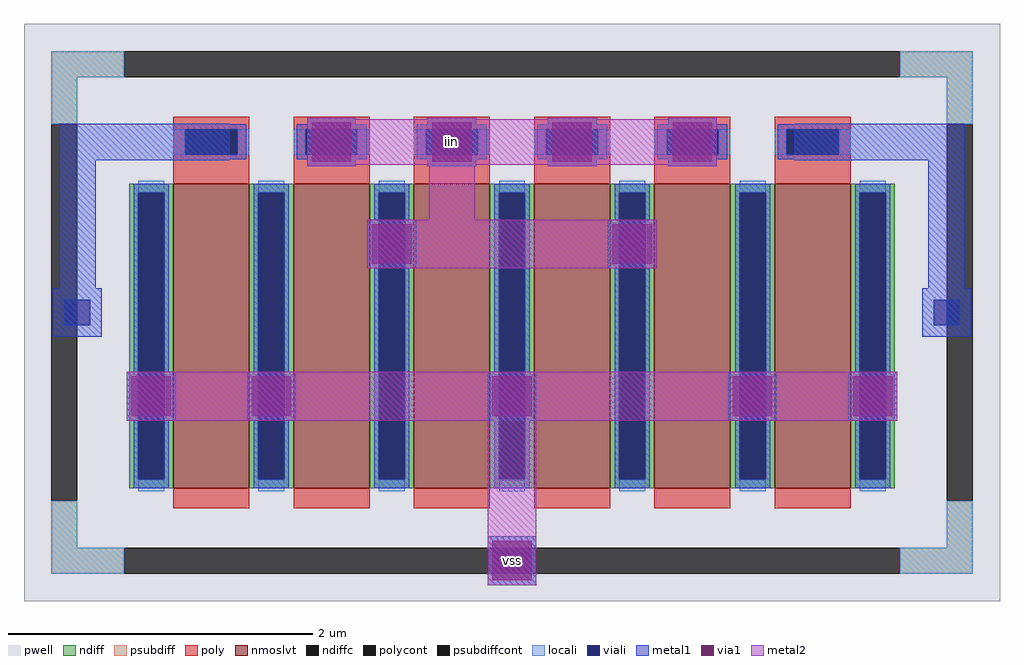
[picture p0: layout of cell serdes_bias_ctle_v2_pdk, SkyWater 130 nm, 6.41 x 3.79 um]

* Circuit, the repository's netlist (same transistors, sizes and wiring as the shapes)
* NGSPICE file created from serdes_bias_ctle_v2_pdk.ext - technology: sky130A

.subckt serdes_bias_ctle_v2_pdk iin vss
X0 vss iin iin vss sky130_fd_pr__nfet_01v8_lvt ad=0.29 pd=2.29 as=0.29 ps=2.29 w=2 l=0.5
X1 iin iin vss vss sky130_fd_pr__nfet_01v8_lvt ad=0.29 pd=2.29 as=0.29 ps=2.29 w=2 l=0.5
X2 vss iin iin vss sky130_fd_pr__nfet_01v8_lvt ad=0.29 pd=2.29 as=0.29 ps=2.29 w=2 l=0.5
X3 vss vss vss vss sky130_fd_pr__nfet_01v8_lvt ad=0.58 pd=4.58 as=2.9 ps=22.9 w=2 l=0.5
X4 iin iin vss vss sky130_fd_pr__nfet_01v8_lvt ad=0.29 pd=2.29 as=0.29 ps=2.29 w=2 l=0.5
X5 vss vss vss vss sky130_fd_pr__nfet_01v8_lvt ad=0.29 pd=2.29 as=0 ps=0 w=2 l=0.5
.ends

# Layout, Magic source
magic
tech sky130A
magscale 1 2
<< pwell >>
rect -641 -379 641 379
<< nmoslvt >>
rect -445 -231 -345 169
rect -287 -231 -187 169
rect -129 -231 -29 169
rect 29 -231 129 169
rect 187 -231 287 169
rect 345 -231 445 169
<< ndiff >>
rect -503 157 -445 169
rect -503 -219 -491 157
rect -457 -219 -445 157
rect -503 -231 -445 -219
rect -345 157 -287 169
rect -345 -219 -333 157
rect -299 -219 -287 157
rect -345 -231 -287 -219
rect -187 157 -129 169
rect -187 -219 -175 157
rect -141 -219 -129 157
rect -187 -231 -129 -219
rect -29 157 29 169
rect -29 -219 -17 157
rect 17 -219 29 157
rect -29 -231 29 -219
rect 129 157 187 169
rect 129 -219 141 157
rect 175 -219 187 157
rect 129 -231 187 -219
rect 287 157 345 169
rect 287 -219 299 157
rect 333 -219 345 157
rect 287 -231 345 -219
rect 445 157 503 169
rect 445 -219 457 157
rect 491 -219 503 157
rect 445 -231 503 -219
<< ndiffc >>
rect -491 -219 -457 157
rect -333 -219 -299 157
rect -175 -219 -141 157
rect -17 -219 17 157
rect 141 -219 175 157
rect 299 -219 333 157
rect 457 -219 491 157
<< psubdiff >>
rect -605 309 -509 343
rect 509 309 605 343
rect -605 247 -571 309
rect 571 247 605 309
rect -605 -309 -571 -247
rect 571 -309 605 -247
rect -605 -343 -509 -309
rect 509 -343 605 -309
<< psubdiffcont >>
rect -509 309 509 343
rect -605 -247 -571 247
rect 571 -247 605 247
rect -509 -343 509 -309
<< poly >>
rect -445 241 -345 257
rect -445 207 -429 241
rect -361 207 -345 241
rect -445 169 -345 207
rect -287 241 -187 257
rect -287 207 -271 241
rect -203 207 -187 241
rect -287 169 -187 207
rect -129 241 -29 257
rect -129 207 -113 241
rect -45 207 -29 241
rect -129 169 -29 207
rect 29 241 129 257
rect 29 207 45 241
rect 113 207 129 241
rect 29 169 129 207
rect 187 241 287 257
rect 187 207 203 241
rect 271 207 287 241
rect 187 169 287 207
rect 345 241 445 257
rect 345 207 361 241
rect 429 207 445 241
rect 345 169 445 207
rect -445 -257 -345 -231
rect -287 -257 -187 -231
rect -129 -257 -29 -231
rect 29 -257 129 -231
rect 187 -257 287 -231
rect 345 -257 445 -231
<< polycont >>
rect -429 207 -361 241
rect -271 207 -203 241
rect -113 207 -45 241
rect 45 207 113 241
rect 203 207 271 241
rect 361 207 429 241
<< locali >>
rect -605 309 -509 343
rect 509 309 605 343
rect -605 247 -571 309
rect 571 247 605 309
rect -445 207 -429 241
rect -361 207 -345 241
rect -287 207 -271 241
rect -203 207 -187 241
rect -129 207 -113 241
rect -45 207 -29 241
rect 29 207 45 241
rect 113 207 129 241
rect 187 207 203 241
rect 271 207 287 241
rect 345 207 361 241
rect 429 207 445 241
rect -491 157 -457 173
rect -491 -235 -457 -219
rect -333 157 -299 173
rect -333 -235 -299 -219
rect -175 157 -141 173
rect -175 -235 -141 -219
rect -17 157 17 173
rect -17 -235 17 -219
rect 141 157 175 173
rect 141 -235 175 -219
rect 299 157 333 173
rect 299 -235 333 -219
rect 457 157 491 173
rect 457 -235 491 -219
rect -605 -309 -571 -247
rect 571 -309 605 -247
rect -605 -343 -509 -309
rect 509 -343 605 -309
<< viali >>
rect -429 207 -361 241
rect -271 207 -203 241
rect -113 207 -45 241
rect 45 207 113 241
rect 203 207 271 241
rect 361 207 429 241
rect -491 -219 -457 157
rect -333 -219 -299 157
rect -175 -219 -141 157
rect -17 -219 17 157
rect 141 -219 175 157
rect 299 -219 333 157
rect 457 -219 491 157
rect -17 -343 17 -309
rect -588 -17 -554 17
rect 554 -17 588 17
<< metal1 >>
rect -441 241 -349 247
rect -441 207 -429 241
rect -361 207 -349 241
rect -441 201 -349 207
rect -283 241 -191 247
rect -283 207 -271 241
rect -203 207 -191 241
rect -283 201 -191 207
rect -125 241 -33 247
rect -125 207 -113 241
rect -45 207 -33 241
rect -125 201 -33 207
rect 33 241 125 247
rect 33 207 45 241
rect 113 207 125 241
rect 33 201 125 207
rect 191 241 283 247
rect 191 207 203 241
rect 271 207 283 241
rect 191 201 283 207
rect 349 241 441 247
rect 349 207 361 241
rect 429 207 441 241
rect 349 201 441 207
rect -497 157 -451 169
rect -497 -219 -491 157
rect -457 -219 -451 157
rect -497 -231 -451 -219
rect -339 157 -293 169
rect -339 -219 -333 157
rect -299 -219 -293 157
rect -339 -231 -293 -219
rect -181 157 -135 169
rect -181 -219 -175 157
rect -141 -219 -135 157
rect -181 -231 -135 -219
rect -23 157 23 169
rect -23 -219 -17 157
rect 17 -219 23 157
rect -23 -231 23 -219
rect 135 157 181 169
rect 135 -219 141 157
rect 175 -219 181 157
rect 135 -231 181 -219
rect 293 157 339 169
rect 293 -219 299 157
rect 333 -219 339 157
rect 293 -231 339 -219
rect 451 157 497 169
rect 451 -219 457 157
rect 491 -219 497 157
rect 451 -231 497 -219
rect -506 -142 -442 -78
rect -348 -142 -284 -78
rect -32 -142 32 -78
rect 284 -142 348 -78
rect 442 -142 506 -78
rect -32 -358 32 -294
rect -32 -358 32 -294
rect -190 58 -126 122
rect 126 58 190 122
rect -269 192 -205 256
rect -111 192 -47 256
rect 47 192 111 256
rect 205 192 269 256
rect -595 200 -371 248
rect -595 -24 -547 248
rect 371 200 595 248
rect 547 -24 595 248
rect -603 -32 -539 32
rect 539 -32 603 32
<< via1 >>
rect -500 -136 -448 -84
rect -342 -136 -290 -84
rect -26 -136 26 -84
rect 290 -136 342 -84
rect 448 -136 500 -84
rect -26 -352 26 -300
rect -184 64 -132 116
rect 132 64 184 116
rect -263 198 -211 250
rect -105 198 -53 250
rect 53 198 105 250
rect 211 198 263 250
<< metal2 >>
rect -506 -142 -442 -78
rect -348 -142 -284 -78
rect -32 -142 32 -78
rect 284 -142 348 -78
rect 442 -142 506 -78
rect -506 -142 506 -78
rect -32 -358 32 -294
rect -32 -358 32 -78
rect -190 58 -126 122
rect 126 58 190 122
rect -190 58 190 122
rect -269 192 -205 256
rect -111 192 -47 256
rect 47 192 111 256
rect 205 192 269 256
rect -267 194 267 254
rect -109 60 -49 254
<< labels >>
rlabel metal2 -79 224 -79 224 0 iin
port 1 nsew
rlabel metal2 0 -326 0 -326 0 vss
port 2 nsew
<< end >>
